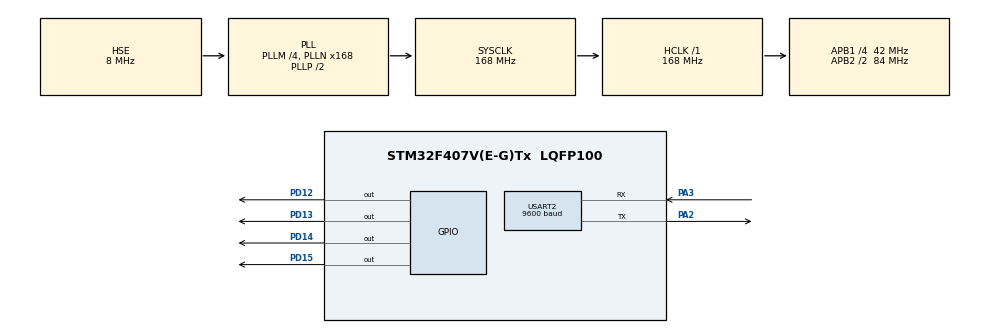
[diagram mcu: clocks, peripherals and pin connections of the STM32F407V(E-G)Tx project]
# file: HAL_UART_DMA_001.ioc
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Dma.Request0=USART2_RX
Dma.USART2_RX.0.Direction=DMA_PERIPH_TO_MEMORY
Dma.USART2_RX.0.FIFOMode=DMA_FIFOMODE_DISABLE
Dma.USART2_RX.0.Instance=DMA1_Stream5
Dma.USART2_RX.0.MemDataAlignment=DMA_MDATAALIGN_BYTE
Dma.USART2_RX.0.MemInc=DMA_MINC_ENABLE
Dma.USART2_RX.0.Mode=DMA_NORMAL
Dma.USART2_RX.0.PeriphDataAlignment=DMA_PDATAALIGN_BYTE
Dma.USART2_RX.0.PeriphInc=DMA_PINC_DISABLE
Dma.USART2_RX.0.Priority=DMA_PRIORITY_LOW
Mcu.Family=STM32F4
Mcu.Name=STM32F407V(E-G)Tx
Mcu.Package=LQFP100
NVIC.DMA1_Stream5_IRQn=true\:0\:0\:false\:false\:true\:false\:true\:true
NVIC.PriorityGroup=NVIC_PRIORITYGROUP_4
PA13.Mode=Serial_Wire
PA13.Signal=SYS_JTMS-SWDIO
PA14.Mode=Serial_Wire
PA14.Signal=SYS_JTCK-SWCLK
PA2.Mode=Asynchronous
PA2.Signal=USART2_TX
PA3.Mode=Asynchronous
PA3.Signal=USART2_RX
PD12.Signal=GPIO_Output
PD13.Signal=GPIO_Output
PD14.Signal=GPIO_Output
PD15.Signal=GPIO_Output
PH0-OSC_IN.Mode=HSE-External-Oscillator
PH0-OSC_IN.Signal=RCC_OSC_IN
PH1-OSC_OUT.Mode=HSE-External-Oscillator
PH1-OSC_OUT.Signal=RCC_OSC_OUT
ProjectManager.HeapSize=0x200
ProjectManager.StackSize=0x400
ProjectManager.TargetToolchain=STM32CubeIDE
RCC.48MHZClocksFreq_Value=84000000
RCC.AHBFreq_Value=168000000
RCC.APB1CLKDivider=RCC_HCLK_DIV4
RCC.APB1Freq_Value=42000000
RCC.APB1TimFreq_Value=84000000
RCC.APB2CLKDivider=RCC_HCLK_DIV2
RCC.APB2Freq_Value=84000000
RCC.APB2TimFreq_Value=168000000
RCC.CortexFreq_Value=168000000
RCC.HCLKFreq_Value=168000000
RCC.HSE_VALUE=8000000
RCC.HSI_VALUE=16000000
RCC.LSE_VALUE=32768
RCC.PLLM=4
RCC.PLLN=168
RCC.PLLSourceVirtual=RCC_PLLSOURCE_HSE
RCC.SYSCLKFreq_VALUE=168000000
RCC.SYSCLKSource=RCC_SYSCLKSOURCE_PLLCLK
RCC.VCOOutputFreq_Value=336000000
USART2.BaudRate=9600
USART2.VirtualMode=VM_ASYNC
board=custom

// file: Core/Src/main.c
/* USER CODE BEGIN Header */
/**
  ******************************************************************************
  * @file           : main.c
  * @brief          : Main program body
  ******************************************************************************
  * @attention
  *
  * Copyright (c) 2024 STMicroelectronics.
  * All rights reserved.
  *
  * This software is licensed under terms that can be found in the LICENSE file
  * in the root directory of this software component.
  * If no LICENSE file comes with this software, it is provided AS-IS.
  *
  ******************************************************************************
  */
/* USER CODE END Header */
#include "main.h"

/* USER CODE BEGIN Includes */

uint8_t countHalf = 0;
uint8_t countFull = 0;
uint8_t RxData[4096];
uint8_t size;
uint8_t control = 0;

/* USER CODE END Includes */

UART_HandleTypeDef huart2;
DMA_HandleTypeDef hdma_usart2_rx;

void SystemClock_Config(void);
static void MX_GPIO_Init(void);
static void MX_DMA_Init(void);
static void MX_USART2_UART_Init(void);

/* USER CODE BEGIN 0 */

// This project is for NORMAL mode DMA of the UART peripheral.

// This Callback function executes when the data receive procedure is completed.
void HAL_UART_RxCpltCallback(UART_HandleTypeDef *huart)
{
	if(control == 0)
	{
		control = 1;
		size = (RxData[0] - 48)*10 + (RxData[1] - 48)*1;
		HAL_UART_Receive_DMA(huart, (uint8_t*)&RxData,size);
	}
	else
	{
		control = 0;
		HAL_UART_Receive_DMA(huart, (uint8_t*)&RxData, 2);
	}

}

// This Callback function executes till the half of the received data.

/* USER CODE END 0 */

int main(void)
{

  /* MCU Configuration--------------------------------------------------------*/

  /* Reset of all peripherals, Initializes the Flash interface and the Systick. */
  HAL_Init();

  /* Configure the system clock */
  SystemClock_Config();

  /* Initialize all configured peripherals */
  MX_GPIO_Init();
  MX_DMA_Init();
  MX_USART2_UART_Init();
  /* USER CODE BEGIN 2 */

  HAL_UART_Receive_DMA(&huart2, (uint8_t*)&RxData, 2);

  /* USER CODE END 2 */

  /* Infinite loop */
  while (1)
  {

    /* USER CODE BEGIN 3 */
	  HAL_GPIO_TogglePin(GPIOD, GPIO_PIN_12);
	  HAL_Delay(1000);
  }
  /* USER CODE END 3 */
}

void SystemClock_Config(void)
{
  RCC_OscInitTypeDef RCC_OscInitStruct = {0};
  RCC_ClkInitTypeDef RCC_ClkInitStruct = {0};

  /** Configure the main internal regulator output voltage
  */
  __HAL_RCC_PWR_CLK_ENABLE();
  __HAL_PWR_VOLTAGESCALING_CONFIG(PWR_REGULATOR_VOLTAGE_SCALE1);

  /** Initializes the RCC Oscillators according to the specified parameters
  * in the RCC_OscInitTypeDef structure.
  */
  RCC_OscInitStruct.OscillatorType = RCC_OSCILLATORTYPE_HSE;
  RCC_OscInitStruct.HSEState = RCC_HSE_ON;
  RCC_OscInitStruct.PLL.PLLState = RCC_PLL_ON;
  RCC_OscInitStruct.PLL.PLLSource = RCC_PLLSOURCE_HSE;
  RCC_OscInitStruct.PLL.PLLM = 4;
  RCC_OscInitStruct.PLL.PLLN = 168;
  RCC_OscInitStruct.PLL.PLLP = RCC_PLLP_DIV2;
  RCC_OscInitStruct.PLL.PLLQ = 4;
  if (HAL_RCC_OscConfig(&RCC_OscInitStruct) != HAL_OK)
  {
    Error_Handler();
  }

  /** Initializes the CPU, AHB and APB buses clocks
  */
  RCC_ClkInitStruct.ClockType = RCC_CLOCKTYPE_HCLK|RCC_CLOCKTYPE_SYSCLK
                              |RCC_CLOCKTYPE_PCLK1|RCC_CLOCKTYPE_PCLK2;
  RCC_ClkInitStruct.SYSCLKSource = RCC_SYSCLKSOURCE_PLLCLK;
  RCC_ClkInitStruct.AHBCLKDivider = RCC_SYSCLK_DIV1;
  RCC_ClkInitStruct.APB1CLKDivider = RCC_HCLK_DIV4;
  RCC_ClkInitStruct.APB2CLKDivider = RCC_HCLK_DIV2;

  if (HAL_RCC_ClockConfig(&RCC_ClkInitStruct, FLASH_LATENCY_5) != HAL_OK)
  {
    Error_Handler();
  }
}

static void MX_USART2_UART_Init(void)
{

  huart2.Instance = USART2;
  huart2.Init.BaudRate = 9600;
  huart2.Init.WordLength = UART_WORDLENGTH_8B;
  huart2.Init.StopBits = UART_STOPBITS_1;
  huart2.Init.Parity = UART_PARITY_NONE;
  huart2.Init.Mode = UART_MODE_TX_RX;
  huart2.Init.HwFlowCtl = UART_HWCONTROL_NONE;
  huart2.Init.OverSampling = UART_OVERSAMPLING_16;
  if (HAL_UART_Init(&huart2) != HAL_OK)
  {
    Error_Handler();
  }

}

static void MX_DMA_Init(void)
{

  /* DMA controller clock enable */
  __HAL_RCC_DMA1_CLK_ENABLE();

  /* DMA interrupt init */
  /* DMA1_Stream5_IRQn interrupt configuration */
  HAL_NVIC_SetPriority(DMA1_Stream5_IRQn, 0, 0);
  HAL_NVIC_EnableIRQ(DMA1_Stream5_IRQn);

}

static void MX_GPIO_Init(void)
{
  GPIO_InitTypeDef GPIO_InitStruct = {0};

  /* GPIO Ports Clock Enable */
  __HAL_RCC_GPIOH_CLK_ENABLE();
  __HAL_RCC_GPIOA_CLK_ENABLE();
  __HAL_RCC_GPIOD_CLK_ENABLE();

  /*Configure GPIO pin Output Level */
  HAL_GPIO_WritePin(GPIOD, GPIO_PIN_12|GPIO_PIN_13|GPIO_PIN_14|GPIO_PIN_15, GPIO_PIN_RESET);

  /*Configure GPIO pins : PD12 PD13 PD14 PD15 */
  GPIO_InitStruct.Pin = GPIO_PIN_12|GPIO_PIN_13|GPIO_PIN_14|GPIO_PIN_15;
  GPIO_InitStruct.Mode = GPIO_MODE_OUTPUT_PP;
  GPIO_InitStruct.Pull = GPIO_NOPULL;
  GPIO_InitStruct.Speed = GPIO_SPEED_FREQ_LOW;
  HAL_GPIO_Init(GPIOD, &GPIO_InitStruct);

}

void Error_Handler(void)
{
  __disable_irq();
  while (1)
  {
  }
}
